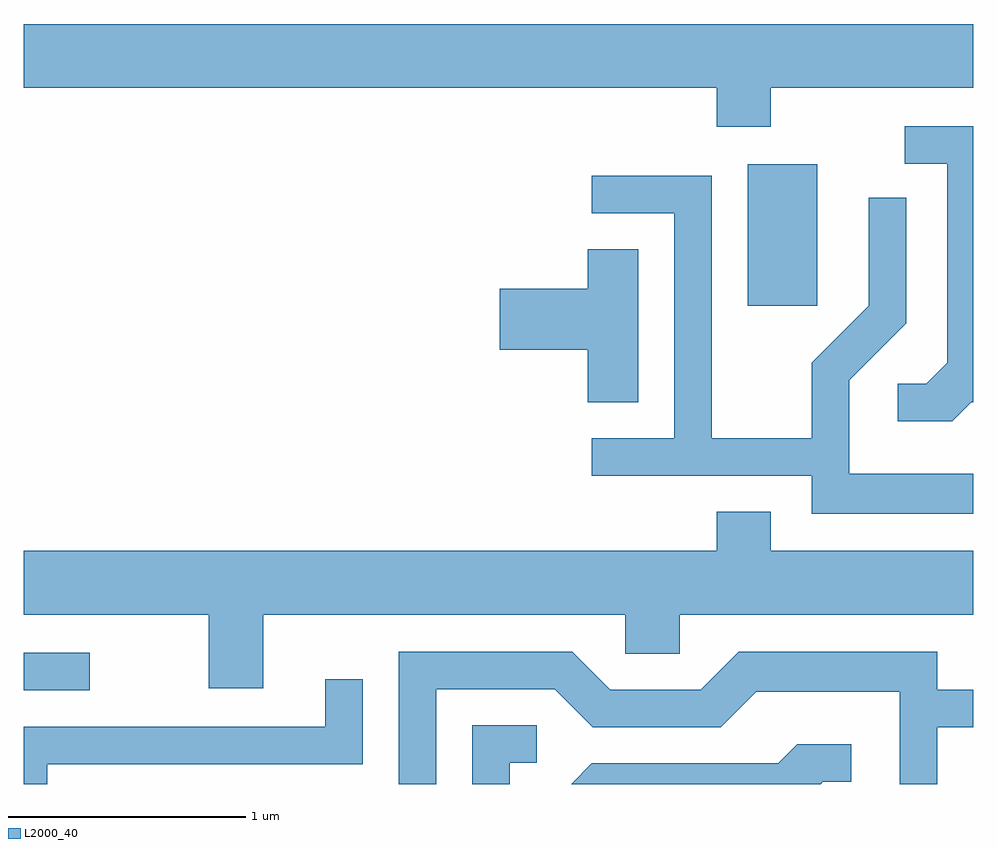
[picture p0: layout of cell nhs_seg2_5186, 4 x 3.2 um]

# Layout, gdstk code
import gdstk
lib = gdstk.Library(unit=1e-6, precision=1e-09)
def R(c, l, rs):  # rectangles x0, y0, x1, y1
    for r in rs: c.add(gdstk.rectangle(r[:2], r[2:], *l))
def P(c, l, *ps):  # polygons
    for p in ps: c.add(gdstk.Polygon(p, *l))
L2000_40 = (2000, 40)

nhs_seg2_5186 = lib.new_cell('nhs_seg2_5186')
R(nhs_seg2_5186, L2000_40, [(337.611,1070.196,337.888,1070.354), (340.661,1071.816,340.954,1072.414)])
P(nhs_seg2_5186, L2000_40, [(340.759,1072.736),(341.611,1072.736),(341.611,1073.004),(337.611,1073.004),(337.611,1072.736),(340.531,1072.736),(340.531,1072.571),(340.759,1072.571)],
  [(341.602,1071.411),(341.611,1071.411),(341.611,1072.574),(341.323,1072.574),(341.323,1072.416),(341.501,1072.416),(341.501,1071.577),(341.414,1071.489),(341.293,1071.489),(341.293,1071.331),(341.522,1071.331)],
  [(341.611,1071.109),(341.089,1071.109),(341.089,1071.504),(341.329,1071.744),(341.329,1072.273),(341.171,1072.273),(341.171,1071.817),(340.931,1071.577),(340.931,1071.259),(340.509,1071.259),(340.509,1072.364),(340.003,1072.364),(340.003,1072.206),(340.351,1072.206),(340.351,1071.259),(340.003,1071.259),(340.003,1071.101),(340.931,1071.101),(340.931,1070.941),(341.611,1070.941)],
  [(340.199,1072.054),(339.986,1072.054),(339.986,1071.889),(339.616,1071.889),(339.616,1071.631),(339.986,1071.631),(339.986,1071.411),(340.199,1071.411)],
  [(338.619,1070.516),(340.146,1070.516),(340.146,1070.351),(340.374,1070.351),(340.374,1070.516),(341.611,1070.516),(341.611,1070.784),(340.759,1070.784),(340.759,1070.949),(340.531,1070.949),(340.531,1070.784),(337.611,1070.784),(337.611,1070.516),(338.391,1070.516),(338.391,1070.206),(338.619,1070.206)],
  [(339.349,1070.201),(339.849,1070.201),(340.009,1070.041),(340.547,1070.041),(340.697,1070.191),(341.301,1070.191),(341.301,1069.802),(341.459,1069.802),(341.459,1070.041),(341.611,1070.041),(341.611,1070.199),(341.459,1070.199),(341.459,1070.359),(340.624,1070.359),(340.464,1070.199),(340.082,1070.199),(339.922,1070.359),(339.191,1070.359),(339.191,1069.802),(339.349,1069.802)],
  [(337.709,1069.886),(339.039,1069.886),(339.039,1070.243),(338.881,1070.243),(338.881,1070.044),(337.611,1070.044),(337.611,1069.802),(337.709,1069.802)],
  [(339.659,1069.891),(339.773,1069.891),(339.773,1070.049),(339.501,1070.049),(339.501,1069.802),(339.659,1069.802)],
  [(340.977,1069.811),(341.098,1069.811),(341.098,1069.969),(340.869,1069.969),(340.789,1069.889),(340.004,1069.889),(339.917,1069.802),(340.968,1069.802)])

lib.write_gds('nhs_seg2_5186.gds')
